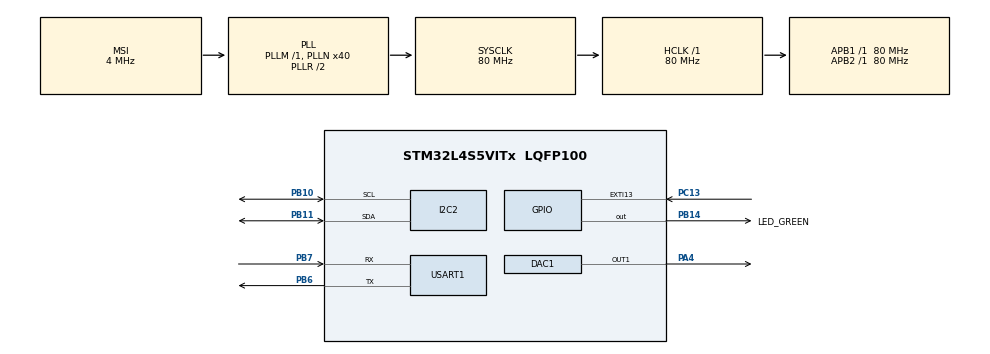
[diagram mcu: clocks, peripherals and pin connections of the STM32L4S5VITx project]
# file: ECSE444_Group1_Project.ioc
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I2C2.Timing=0x10909CEC
Mcu.Family=STM32L4
Mcu.Name=STM32L4S5VITx
Mcu.Package=LQFP100
NVIC.EXTI15_10_IRQn=true\:0\:0\:false\:false\:true\:true\:true
NVIC.PriorityGroup=NVIC_PRIORITYGROUP_4
NVIC.TIM6_DAC_IRQn=true\:0\:0\:false\:false\:true\:false\:true
NVIC.TimeBase=TIM6_DAC_IRQn
NVIC.TimeBaseIP=TIM6
PA4.Signal=COMP_DAC11_group
PB10.Mode=I2C
PB10.Signal=I2C2_SCL
PB11.Mode=I2C
PB11.Signal=I2C2_SDA
PB14.GPIO_Label=LED_GREEN
PB14.Signal=GPIO_Output
PB6.Mode=Asynchronous
PB6.Signal=USART1_TX
PB7.Mode=Asynchronous
PB7.Signal=USART1_RX
PC13.Signal=GPXTI13
ProjectManager.HeapSize=0x200
ProjectManager.StackSize=0x400
ProjectManager.TargetToolchain=STM32CubeIDE
RCC.ADCFreq_Value=48000000
RCC.AHBFreq_Value=80000000
RCC.APB1Freq_Value=80000000
RCC.APB1TimFreq_Value=80000000
RCC.APB2Freq_Value=80000000
RCC.APB2TimFreq_Value=80000000
RCC.CortexFreq_Value=80000000
RCC.HCLKFreq_Value=80000000
RCC.HSE_VALUE=8000000
RCC.HSI48_VALUE=48000000
RCC.HSI_VALUE=16000000
RCC.LSE_VALUE=32768
RCC.MSI_VALUE=4000000
RCC.PLLN=40
RCC.PLLSAI1N=24
RCC.SYSCLKFreq_VALUE=80000000
RCC.SYSCLKSource=RCC_SYSCLKSOURCE_PLLCLK
RCC.USBFreq_Value=48000000
RCC.VCOOutputFreq_Value=160000000
SH.COMP_DAC11_group.0=DAC1_OUT1,DAC_OUT1_ExtAndInt
TIM2.Period=1813
USART1.VirtualMode-Asynchronous=VM_ASYNC
VP_SYS_VS_tim6.Mode=TIM6
VP_TIM2_VS_ClockSourceINT.Mode=Internal
board=B-L4S5I-IOT01A

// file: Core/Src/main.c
/* USER CODE BEGIN Header */
/**
  ******************************************************************************
  * @file           : main.c
  * @brief          : Main program body
  ******************************************************************************
  * @attention
  *
  * <h2><center>&copy; Copyright (c) 2021 STMicroelectronics.
  * All rights reserved.</center></h2>
  *
  * This software component is licensed by ST under BSD 3-Clause license,
  * the "License"; You may not use this file except in compliance with the
  * License. You may obtain a copy of the License at:
  *                        opensource.org/licenses/BSD-3-Clause
  *
  ******************************************************************************
  */
/* USER CODE END Header */
#include "main.h"

/* USER CODE BEGIN Includes */
#include "arm_math.h"
#include <stdio.h>
#include <string.h>

/* USER CODE END Includes */

/* USER CODE BEGIN PTD */
#define SIZE 100

/* USER CODE END PTD */

/* USER CODE BEGIN PD */
float maxAmp = 55.0;
int setFrequency = 441000;

/* USER CODE END PD */

DAC_HandleTypeDef hdac1;

I2C_HandleTypeDef hi2c2;

TIM_HandleTypeDef htim2;

UART_HandleTypeDef huart1;

/* USER CODE BEGIN PV */
int state = 0;

uint8_t sineWave_1k; // 1/sample * 44.1 kHz = 1000
uint8_t sineWave_middle; // 29-> 1/sample * 44.1 kHz = 1.5kHz
uint8_t sineWave_2k; // 22 samples -> 1/sample * 44.1 kHz = 2kHz

/*
 * SINE WAVE FREQUENCIES NEEDED (A - F)
 * C4 - 265 Hz
 * D4 - 294 Hz
 * E4 - 330 Hz
 * F4 - 350 Hz
 * G4 - 392 Hz
 * A4 - 430 Hz
 * B4 - 495 Hz
 * C5 - 525 Hz
 * D5 - 590 Hz
 * E5 - 645 Hz
 * F5 - 700 Hz
 * G5 - 775 Hz
 * A5 - 870 Hz
 * B5 - 970 Hz
 * C6 - 1045 Hz
 * D6 - 1160 Hz
 * E6 - 1300 Hz
 * F6 - 1400 Hz
 * G6 - 1600 Hz
 * A6 - 1800 Hz
 *
 */

char greeting[SIZE];
char prompt1[SIZE];
char promptTone1[SIZE];
char promptTone2[SIZE];
char promptTone3[SIZE];
char promptTone4[SIZE];
char enterPrompt[SIZE];
char receivedInput[SIZE];
char C4_buff[SIZE];
char error[SIZE];

/* USER CODE END PV */

void SystemClock_Config(void);
static void MX_GPIO_Init(void);
static void MX_DAC1_Init(void);
static void MX_I2C2_Init(void);
static void MX_USART1_UART_Init(void);
static void MX_TIM2_Init(void);

/* USER CODE BEGIN 0 */

// Function that returns an array for sine wave generation

uint8_t *generateSineWave(uint16_t frequency){
	uint8_t *sineWave;
	//frequency = 1/sample * 44.1 kHz
	uint8_t sample_size = (uint8_t)setFrequency/frequency;
	sineWave = (uint8_t *)malloc(sample_size*sizeof(uint8_t));
	for(int i = 0; i < sample_size; i++){
		sineWave[i] = maxAmp * (arm_sin_f32((float)(2*PI*i)/sample_size) + 1);
	}
	return sineWave;
}

void promptGreeting(){
	  sprintf(greeting, "\r Welcome to Music Composer \n");
	  HAL_UART_Transmit(&huart1, (uint8_t*)greeting, 30, HAL_UART_TIMEOUT_VALUE);

	  sprintf(prompt1, "\r These are the Available Tones: \n");
	  HAL_UART_Transmit(&huart1, (uint8_t*)prompt1, 50, HAL_UART_TIMEOUT_VALUE);

	  sprintf(promptTone1, "\r C4 - 265 Hz \n \r D4 - 294 Hz \n \r E4 - 330 Hz \n \r F4 - 350 Hz \n \r G4 - 392 Hz \n \r A4 - 430 Hz \n ");
	  HAL_UART_Transmit(&huart1, (uint8_t*)promptTone1, 100, HAL_UART_TIMEOUT_VALUE);

	  sprintf(promptTone2, " \r B4 - 495 Hz \n \r B4 - 495 Hz \n \r C5 - 525 Hz \n \r D5 - 590 Hz \n \r E5 - 645 Hz \n \r F5 - 700 Hz \n " );
	  HAL_UART_Transmit(&huart1, (uint8_t*)promptTone2, 100, HAL_UART_TIMEOUT_VALUE);

	  sprintf(promptTone3, "\r G5 - 775 Hz \n \r A5 - 870 Hz \n \r B5 - 970 Hz \n \r C6 - 1045 Hz \n \r D6 - 1160 Hz \n \r E6 - 1300 Hz \n");
	  HAL_UART_Transmit(&huart1, (uint8_t*)promptTone3, 100, HAL_UART_TIMEOUT_VALUE);

	  sprintf(promptTone4, "\r F6 - 1400 Hz \n \r G6 - 1600 Hz \n \r A6 - 1800 Hz \n");
	  HAL_UART_Transmit(&huart1, (uint8_t*)promptTone4, 100, HAL_UART_TIMEOUT_VALUE);

}

void selectTone(){

	//Select a tone and show that it is playing that tone
	sprintf(enterPrompt, "\r Enter the Tone You Wish to Listen to: ");
	HAL_UART_Transmit(&huart1, (uint8_t*)enterPrompt, 100, HAL_UART_TIMEOUT_VALUE);

	HAL_UART_Receive(&huart1, (uint8_t*)receivedInput, 5, HAL_UART_TIMEOUT_VALUE);
	// ------ NOT WORKING NEED A WAT TO RECEIVE UART INPUT AND DISPLAY ON TERMINAL
	if (strcmp(receivedInput,"C4")==0){
		sprintf(C4_buff,"\r Playing C4... \n \r ");
		HAL_UART_Transmit(&huart1, (uint8_t*)C4_buff, 10, HAL_UART_TIMEOUT_VALUE);
	}else {
		sprintf(error,"\r Error \n \r");
		HAL_UART_Transmit(&huart1, (uint8_t*)error, 10, HAL_UART_TIMEOUT_VALUE);
	}

}

/* USER CODE END 0 */

int main(void)
{

  /* MCU Configuration--------------------------------------------------------*/

  /* Reset of all peripherals, Initializes the Flash interface and the Systick. */
  HAL_Init();

  /* Configure the system clock */
  SystemClock_Config();

  /* Initialize all configured peripherals */
  MX_GPIO_Init();
  MX_DAC1_Init();
  MX_I2C2_Init();
  MX_USART1_UART_Init();
  MX_TIM2_Init();

  /* Infinite loop */
  /* USER CODE BEGIN WHILE */
  promptGreeting();

  while (1)
  {
    /* USER CODE END WHILE */
	  selectTone();

  }
}

void SystemClock_Config(void)
{
  RCC_OscInitTypeDef RCC_OscInitStruct = {0};
  RCC_ClkInitTypeDef RCC_ClkInitStruct = {0};
  RCC_PeriphCLKInitTypeDef PeriphClkInit = {0};

  /** Configure the main internal regulator output voltage
  */
  if (HAL_PWREx_ControlVoltageScaling(PWR_REGULATOR_VOLTAGE_SCALE1) != HAL_OK)
  {
    Error_Handler();
  }
  /** Initializes the RCC Oscillators according to the specified parameters
  * in the RCC_OscInitTypeDef structure.
  */
  RCC_OscInitStruct.OscillatorType = RCC_OSCILLATORTYPE_MSI;
  RCC_OscInitStruct.MSIState = RCC_MSI_ON;
  RCC_OscInitStruct.MSICalibrationValue = 0;
  RCC_OscInitStruct.MSIClockRange = RCC_MSIRANGE_6;
  RCC_OscInitStruct.PLL.PLLState = RCC_PLL_ON;
  RCC_OscInitStruct.PLL.PLLSource = RCC_PLLSOURCE_MSI;
  RCC_OscInitStruct.PLL.PLLM = 1;
  RCC_OscInitStruct.PLL.PLLN = 40;
  RCC_OscInitStruct.PLL.PLLP = RCC_PLLP_DIV2;
  RCC_OscInitStruct.PLL.PLLQ = RCC_PLLQ_DIV2;
  RCC_OscInitStruct.PLL.PLLR = RCC_PLLR_DIV2;
  if (HAL_RCC_OscConfig(&RCC_OscInitStruct) != HAL_OK)
  {
    Error_Handler();
  }
  /** Initializes the CPU, AHB and APB buses clocks
  */
  RCC_ClkInitStruct.ClockType = RCC_CLOCKTYPE_HCLK|RCC_CLOCKTYPE_SYSCLK
                              |RCC_CLOCKTYPE_PCLK1|RCC_CLOCKTYPE_PCLK2;
  RCC_ClkInitStruct.SYSCLKSource = RCC_SYSCLKSOURCE_PLLCLK;
  RCC_ClkInitStruct.AHBCLKDivider = RCC_SYSCLK_DIV1;
  RCC_ClkInitStruct.APB1CLKDivider = RCC_HCLK_DIV1;
  RCC_ClkInitStruct.APB2CLKDivider = RCC_HCLK_DIV1;

  if (HAL_RCC_ClockConfig(&RCC_ClkInitStruct, FLASH_LATENCY_3) != HAL_OK)
  {
    Error_Handler();
  }
  PeriphClkInit.PeriphClockSelection = RCC_PERIPHCLK_USART1|RCC_PERIPHCLK_I2C2;
  PeriphClkInit.Usart1ClockSelection = RCC_USART1CLKSOURCE_PCLK2;
  PeriphClkInit.I2c2ClockSelection = RCC_I2C2CLKSOURCE_PCLK1;
  if (HAL_RCCEx_PeriphCLKConfig(&PeriphClkInit) != HAL_OK)
  {
    Error_Handler();
  }
}

static void MX_DAC1_Init(void)
{

  DAC_ChannelConfTypeDef sConfig = {0};

  /** DAC Initialization
  */
  hdac1.Instance = DAC1;
  if (HAL_DAC_Init(&hdac1) != HAL_OK)
  {
    Error_Handler();
  }
  /** DAC channel OUT1 config
  */
  sConfig.DAC_SampleAndHold = DAC_SAMPLEANDHOLD_DISABLE;
  sConfig.DAC_Trigger = DAC_TRIGGER_NONE;
  sConfig.DAC_HighFrequency = DAC_HIGH_FREQUENCY_INTERFACE_MODE_DISABLE;
  sConfig.DAC_OutputBuffer = DAC_OUTPUTBUFFER_ENABLE;
  sConfig.DAC_ConnectOnChipPeripheral = DAC_CHIPCONNECT_ENABLE;
  sConfig.DAC_UserTrimming = DAC_TRIMMING_FACTORY;
  if (HAL_DAC_ConfigChannel(&hdac1, &sConfig, DAC_CHANNEL_1) != HAL_OK)
  {
    Error_Handler();
  }

}

static void MX_I2C2_Init(void)
{

  hi2c2.Instance = I2C2;
  hi2c2.Init.Timing = 0x10909CEC;
  hi2c2.Init.OwnAddress1 = 0;
  hi2c2.Init.AddressingMode = I2C_ADDRESSINGMODE_7BIT;
  hi2c2.Init.DualAddressMode = I2C_DUALADDRESS_DISABLE;
  hi2c2.Init.OwnAddress2 = 0;
  hi2c2.Init.OwnAddress2Masks = I2C_OA2_NOMASK;
  hi2c2.Init.GeneralCallMode = I2C_GENERALCALL_DISABLE;
  hi2c2.Init.NoStretchMode = I2C_NOSTRETCH_DISABLE;
  if (HAL_I2C_Init(&hi2c2) != HAL_OK)
  {
    Error_Handler();
  }
  /** Configure Analogue filter
  */
  if (HAL_I2CEx_ConfigAnalogFilter(&hi2c2, I2C_ANALOGFILTER_ENABLE) != HAL_OK)
  {
    Error_Handler();
  }
  /** Configure Digital filter
  */
  if (HAL_I2CEx_ConfigDigitalFilter(&hi2c2, 0) != HAL_OK)
  {
    Error_Handler();
  }

}

static void MX_TIM2_Init(void)
{

  TIM_ClockConfigTypeDef sClockSourceConfig = {0};
  TIM_MasterConfigTypeDef sMasterConfig = {0};

  htim2.Instance = TIM2;
  htim2.Init.Prescaler = 0;
  htim2.Init.CounterMode = TIM_COUNTERMODE_UP;
  htim2.Init.Period = 1813;
  htim2.Init.ClockDivision = TIM_CLOCKDIVISION_DIV1;
  htim2.Init.AutoReloadPreload = TIM_AUTORELOAD_PRELOAD_DISABLE;
  if (HAL_TIM_Base_Init(&htim2) != HAL_OK)
  {
    Error_Handler();
  }
  sClockSourceConfig.ClockSource = TIM_CLOCKSOURCE_INTERNAL;
  if (HAL_TIM_ConfigClockSource(&htim2, &sClockSourceConfig) != HAL_OK)
  {
    Error_Handler();
  }
  sMasterConfig.MasterOutputTrigger = TIM_TRGO_RESET;
  sMasterConfig.MasterSlaveMode = TIM_MASTERSLAVEMODE_DISABLE;
  if (HAL_TIMEx_MasterConfigSynchronization(&htim2, &sMasterConfig) != HAL_OK)
  {
    Error_Handler();
  }

}

static void MX_USART1_UART_Init(void)
{

  huart1.Instance = USART1;
  huart1.Init.BaudRate = 115200;
  huart1.Init.WordLength = UART_WORDLENGTH_8B;
  huart1.Init.StopBits = UART_STOPBITS_1;
  huart1.Init.Parity = UART_PARITY_NONE;
  huart1.Init.Mode = UART_MODE_TX_RX;
  huart1.Init.HwFlowCtl = UART_HWCONTROL_NONE;
  huart1.Init.OverSampling = UART_OVERSAMPLING_16;
  huart1.Init.OneBitSampling = UART_ONE_BIT_SAMPLE_DISABLE;
  huart1.Init.ClockPrescaler = UART_PRESCALER_DIV1;
  huart1.AdvancedInit.AdvFeatureInit = UART_ADVFEATURE_NO_INIT;
  if (HAL_UART_Init(&huart1) != HAL_OK)
  {
    Error_Handler();
  }
  if (HAL_UARTEx_SetTxFifoThreshold(&huart1, UART_TXFIFO_THRESHOLD_1_8) != HAL_OK)
  {
    Error_Handler();
  }
  if (HAL_UARTEx_SetRxFifoThreshold(&huart1, UART_RXFIFO_THRESHOLD_1_8) != HAL_OK)
  {
    Error_Handler();
  }
  if (HAL_UARTEx_DisableFifoMode(&huart1) != HAL_OK)
  {
    Error_Handler();
  }

}

static void MX_GPIO_Init(void)
{
  GPIO_InitTypeDef GPIO_InitStruct = {0};

  /* GPIO Ports Clock Enable */
  __HAL_RCC_GPIOC_CLK_ENABLE();
  __HAL_RCC_GPIOA_CLK_ENABLE();
  __HAL_RCC_GPIOB_CLK_ENABLE();

  /*Configure GPIO pin Output Level */
  HAL_GPIO_WritePin(LED_GREEN_GPIO_Port, LED_GREEN_Pin, GPIO_PIN_RESET);

  /*Configure GPIO pin : PC13 */
  GPIO_InitStruct.Pin = GPIO_PIN_13;
  GPIO_InitStruct.Mode = GPIO_MODE_IT_RISING;
  GPIO_InitStruct.Pull = GPIO_NOPULL;
  HAL_GPIO_Init(GPIOC, &GPIO_InitStruct);

  /*Configure GPIO pin : LED_GREEN_Pin */
  GPIO_InitStruct.Pin = LED_GREEN_Pin;
  GPIO_InitStruct.Mode = GPIO_MODE_OUTPUT_PP;
  GPIO_InitStruct.Pull = GPIO_NOPULL;
  GPIO_InitStruct.Speed = GPIO_SPEED_FREQ_LOW;
  HAL_GPIO_Init(LED_GREEN_GPIO_Port, &GPIO_InitStruct);

  /* EXTI interrupt init*/
  HAL_NVIC_SetPriority(EXTI15_10_IRQn, 0, 0);
  HAL_NVIC_EnableIRQ(EXTI15_10_IRQn);

}

 /**
  * @brief  Period elapsed callback in non blocking mode
  * @note   This function is called  when TIM6 interrupt took place, inside
  * HAL_TIM_IRQHandler(). It makes a direct call to HAL_IncTick() to increment
  * a global variable "uwTick" used as application time base.
  * @param  htim : TIM handle
  * @retval None
  */
void HAL_TIM_PeriodElapsedCallback(TIM_HandleTypeDef *htim)
{
  if (htim->Instance == TIM6) {
    HAL_IncTick();
  }
}

void Error_Handler(void)
{
  __disable_irq();
  while (1)
  {
  }
}

/************************ (C) COPYRIGHT STMicroelectronics *****END OF FILE****/
